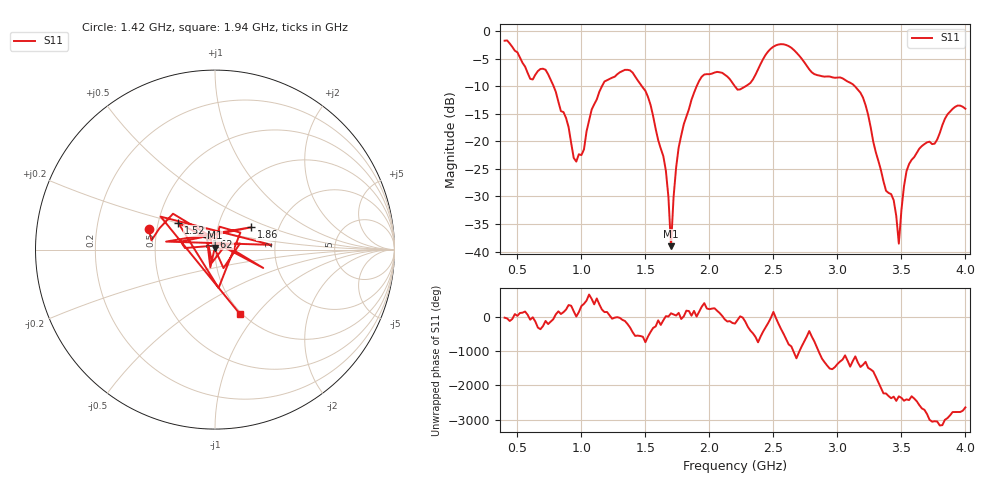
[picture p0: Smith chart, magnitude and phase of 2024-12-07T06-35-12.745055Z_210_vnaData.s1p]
!Created with skrf (http://scikit-rf.org).
# Hz S RI R 50.0
!freq ReS11 ImS11
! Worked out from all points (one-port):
!   181 points, 400 MHz to 4 GHz, reference 50 ohm
!   lowest |S11| = -39.0 dB at 1.7 GHz (marker M1), VSWR 1.02, Z = 49.8 + j1.09 ohm
!   |S11| at or under -10 dB: 782.9 MHz to 1.16 GHz (377.6 MHz wide, 38.9 % of centre); 1.473 GHz to 1.9 GHz (427.5 MHz wide, 25.3 % of centre); 3.136 GHz to end of sweep (the widest 3 of 4)
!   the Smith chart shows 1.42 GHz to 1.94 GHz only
!   S11 on the Smith chart (normalised r, x): 1.42 GHz: 0.45, +0.12; 1.52 GHz: 0.63, +0.20; 1.62 GHz: 0.90, +0.13; 1.86 GHz: 1.45, +0.38; 1.94 GHz: 0.98, -0.83
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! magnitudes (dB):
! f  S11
! 400 MHz  -1.7
! 600 MHz  -8.6
! 720 MHz  -7.0
! 860 MHz  -14.7
! 960 MHz  -23.7
! 1.16 GHz  -10.0
! 1.3 GHz  -7.5
! 1.42 GHz  -8.2
! 1.52 GHz  -11.9
! 1.62 GHz  -21.3
! 1.66 GHz  -25.3
! 1.7 GHz  -39.0
! 1.72 GHz  -30.1
! 1.76 GHz  -21.1
! 1.86 GHz  -12.5
! 1.94 GHz  -8.3
! 2.2 GHz  -10.0
! 2.32 GHz  -9.4
! 2.5 GHz  -2.8
! 2.66 GHz  -3.4
! 3.1 GHz  -9.4
! 3.22 GHz  -13.4
! 3.38 GHz  -29.0
! 3.44 GHz  -30.7
! 3.48 GHz  -38.6
! 3.52 GHz  -28.2
! 3.56 GHz  -24.1
! 4 GHz  -14.1
